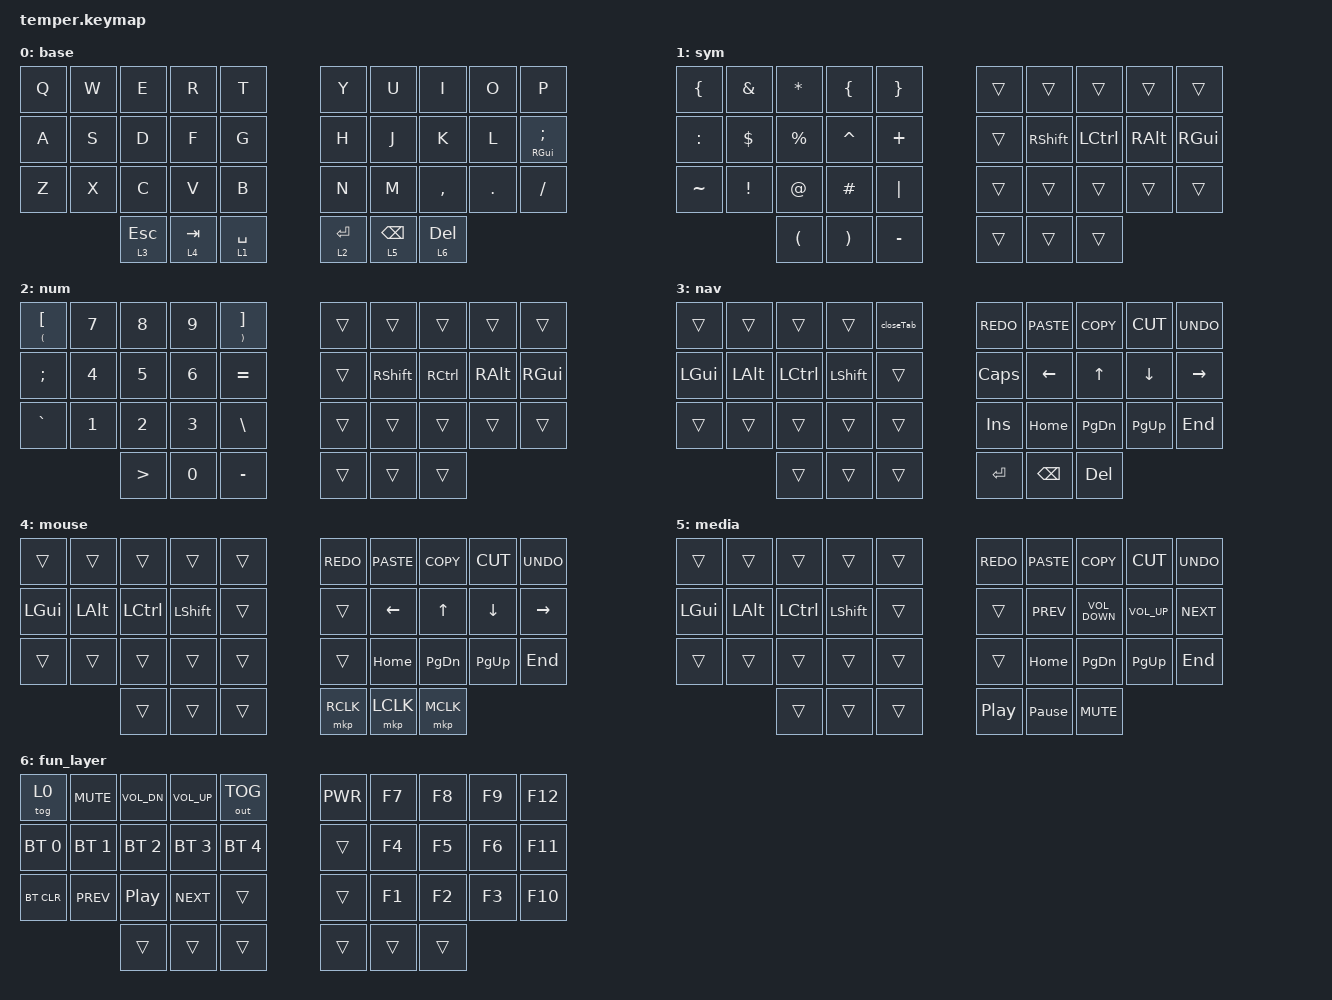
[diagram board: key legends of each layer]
/*
 * Copyright (c) 2020 The ZMK Contributors
 *
 * SPDX-License-Identifier: MIT
 */

#include <behaviors.dtsi>
#include <dt-bindings/zmk/bt.h>
#include <dt-bindings/zmk/keys.h>
#include <dt-bindings/zmk/mouse.h>
#include <dt-bindings/zmk/outputs.h>

#define DEFAULT 0
#define QWERTY 1
#define NUM 2
#define NAV 3
#define FUN 4

/ {
    conditional_layers {
        compatible = "zmk,conditional-layers";

        tri_layer {
            if-layers = <6 6>;
            then-layer = <6>;
        };
    };

    behaviors {
        bspc_del: backspace_delete {
            compatible = "zmk,behavior-mod-morph";
            #binding-cells = <0>;
            bindings = <&kp BACKSPACE>, <&kp DELETE>;

            mods = <(MOD_LSFT|MOD_RSFT)>;
            keep-mods = <(MOD_RSFT)>;
        };

        super_bspc: super_backspace {
            compatible = "zmk,behavior-mod-morph";
            #binding-cells = <0>;
            bindings = <&kp BACKSPACE>, <&kp LA(BACKSPACE)>;

            mods = <(MOD_LSFT|MOD_RSFT)>;
        };

        smart_shft: smart_shift {
            compatible = "zmk,behavior-mod-morph";
            #binding-cells = <0>;
            bindings = <&kp LSHFT>, <&caps_word>;

            mods = <(MOD_LSFT)>;
        };

        comma_semi: comma_semi {
            compatible = "zmk,behavior-mod-morph";
            #binding-cells = <0>;
            bindings = <&kp COMMA>, <&kp SEMI>;

            mods = <(MOD_LSFT)>;
        };

        dot_colon: dot_colon {
            compatible = "zmk,behavior-mod-morph";
            #binding-cells = <0>;
            bindings = <&kp DOT>, <&kp COLON>;

            mods = <(MOD_LSFT)>;
        };

        qmrk_excl: qmrk_excl {
            compatible = "zmk,behavior-mod-morph";
            #binding-cells = <0>;
            bindings = <&kp QMARK>, <&kp EXCL>;

            mods = <(MOD_LSFT)>;
        };

        slh_morph: slh_morph {
            compatible = "zmk,behavior-mod-morph";
            #binding-cells = <0>;
            bindings = <&kp FSLH>, <&kp BSLH>;

            mods = <(MOD_LSFT)>;
        };

        amps_morph: amps_morph {
            compatible = "zmk,behavior-mod-morph";
            #binding-cells = <0>;
            bindings = <&kp AMPS>, <&kp PIPE>;

            mods = <(MOD_LSFT)>;
        };
    };

    macros {
        closeTab: closeTab {
            compatible = "zmk,behavior-macro";
            #binding-cells = <0>;
            bindings =
                <&macro_press>,
                <&kp LEFT_COMMAND &kp W>,
                <&macro_release>;

            label = "closeTab";
        };
    };

    keymap {
        compatible = "zmk,keymap";

        base {
            bindings = <
&kp Q  &kp W  &kp E         &kp R      &kp T        &kp Y        &kp U            &kp I         &kp O    &kp P
&kp A  &kp S  &kp D         &kp F      &kp G        &kp H        &kp J            &kp K         &kp L    &mt RIGHT_GUI SEMICOLON
&kp Z  &kp X  &kp C         &kp V      &kp B        &kp N        &kp M            &kp COMMA     &kp DOT  &kp FSLH
              &lt 3 ESCAPE  &lt 4 TAB  &lt 1 SPACE  &lt 2 ENTER  &lt 5 BACKSPACE  &lt 6 DELETE
            >;
        };

        sym {
            bindings = <
&kp LEFT_BRACE  &kp AMPERSAND    &kp ASTERISK          &kp LEFT_BRACE         &kp RIGHT_BRACE  &trans  &trans           &trans     &trans         &trans
&kp COLON       &kp DOLLAR       &kp PERCENT           &kp CARET              &kp PLUS         &trans  &kp RIGHT_SHIFT  &kp LCTRL  &kp RIGHT_ALT  &kp RIGHT_GUI
&kp TILDE       &kp EXCLAMATION  &kp AT_SIGN           &kp HASH               &kp PIPE         &trans  &trans           &trans     &trans         &trans
                                 &kp LEFT_PARENTHESIS  &kp RIGHT_PARENTHESIS  &kp MINUS        &trans  &trans           &trans
            >;
        };

        num {
            bindings = <
&mt LEFT_PARENTHESIS LEFT_BRACKET  &kp NUMBER_7  &kp NUMBER_8      &kp NUMBER_9  &mt RIGHT_PARENTHESIS RIGHT_BRACKET  &trans  &trans           &trans     &trans         &trans
&kp SEMICOLON                      &kp NUMBER_4  &kp NUMBER_5      &kp NUMBER_6  &kp EQUAL                            &trans  &kp RIGHT_SHIFT  &kp RCTRL  &kp RIGHT_ALT  &kp RIGHT_GUI
&kp GRAVE                          &kp NUMBER_1  &kp NUMBER_2      &kp NUMBER_3  &kp BACKSLASH                        &trans  &trans           &trans     &trans         &trans
                                                 &kp GREATER_THAN  &kp NUMBER_0  &kp MINUS                            &trans  &trans           &trans
            >;
        };

        nav {
            bindings = <
&trans        &trans        &trans     &trans          &closeTab  &kp K_REDO    &kp K_PASTE    &kp K_COPY     &kp K_CUT    &kp K_UNDO
&kp LEFT_GUI  &kp LEFT_ALT  &kp LCTRL  &kp LEFT_SHIFT  &trans     &kp CAPSLOCK  &kp LEFT       &kp UP         &kp DOWN     &kp RIGHT
&trans        &trans        &trans     &trans          &trans     &kp INSERT    &kp HOME       &kp PAGE_DOWN  &kp PAGE_UP  &kp END
                            &trans     &trans          &trans     &kp ENTER     &kp BACKSPACE  &kp DELETE
            >;
        };

        mouse {
            bindings = <
&trans        &trans        &trans     &trans          &trans  &kp K_REDO  &kp K_PASTE  &kp K_COPY     &kp K_CUT    &kp K_UNDO
&kp LEFT_GUI  &kp LEFT_ALT  &kp LCTRL  &kp LEFT_SHIFT  &trans  &trans      &kp LEFT     &kp UP         &kp DOWN     &kp RIGHT
&trans        &trans        &trans     &trans          &trans  &trans      &kp HOME     &kp PAGE_DOWN  &kp PAGE_UP  &kp END
                            &trans     &trans          &trans  &mkp RCLK   &mkp LCLK    &mkp MCLK
            >;
        };

        media {
            bindings = <
&trans        &trans        &trans     &trans          &trans  &kp K_REDO        &kp K_PASTE      &kp K_COPY         &kp K_CUT        &kp K_UNDO
&kp LEFT_GUI  &kp LEFT_ALT  &kp LCTRL  &kp LEFT_SHIFT  &trans  &trans            &kp K_PREV       &kp K_VOLUME_DOWN  &kp K_VOLUME_UP  &kp K_NEXT
&trans        &trans        &trans     &trans          &trans  &trans            &kp HOME         &kp PAGE_DOWN      &kp PAGE_UP      &kp END
                            &trans     &trans          &trans  &kp C_PLAY_PAUSE  &kp PAUSE_BREAK  &kp K_MUTE
            >;
        };

        fun_layer {
            bindings = <
&tog 0        &kp K_MUTE    &kp C_VOL_DN  &kp C_VOL_UP  &out OUT_TOG  &kp K_PWR  &kp F7  &kp F8  &kp F9  &kp F12
&bt BT_SEL 0  &bt BT_SEL 1  &bt BT_SEL 2  &bt BT_SEL 3  &bt BT_SEL 4  &trans     &kp F4  &kp F5  &kp F6  &kp F11
&bt BT_CLR    &kp C_PREV    &kp C_PP      &kp C_NEXT    &trans        &trans     &kp F1  &kp F2  &kp F3  &kp F10
                            &trans        &trans        &trans        &trans     &trans  &trans
            >;
        };
    };
};
